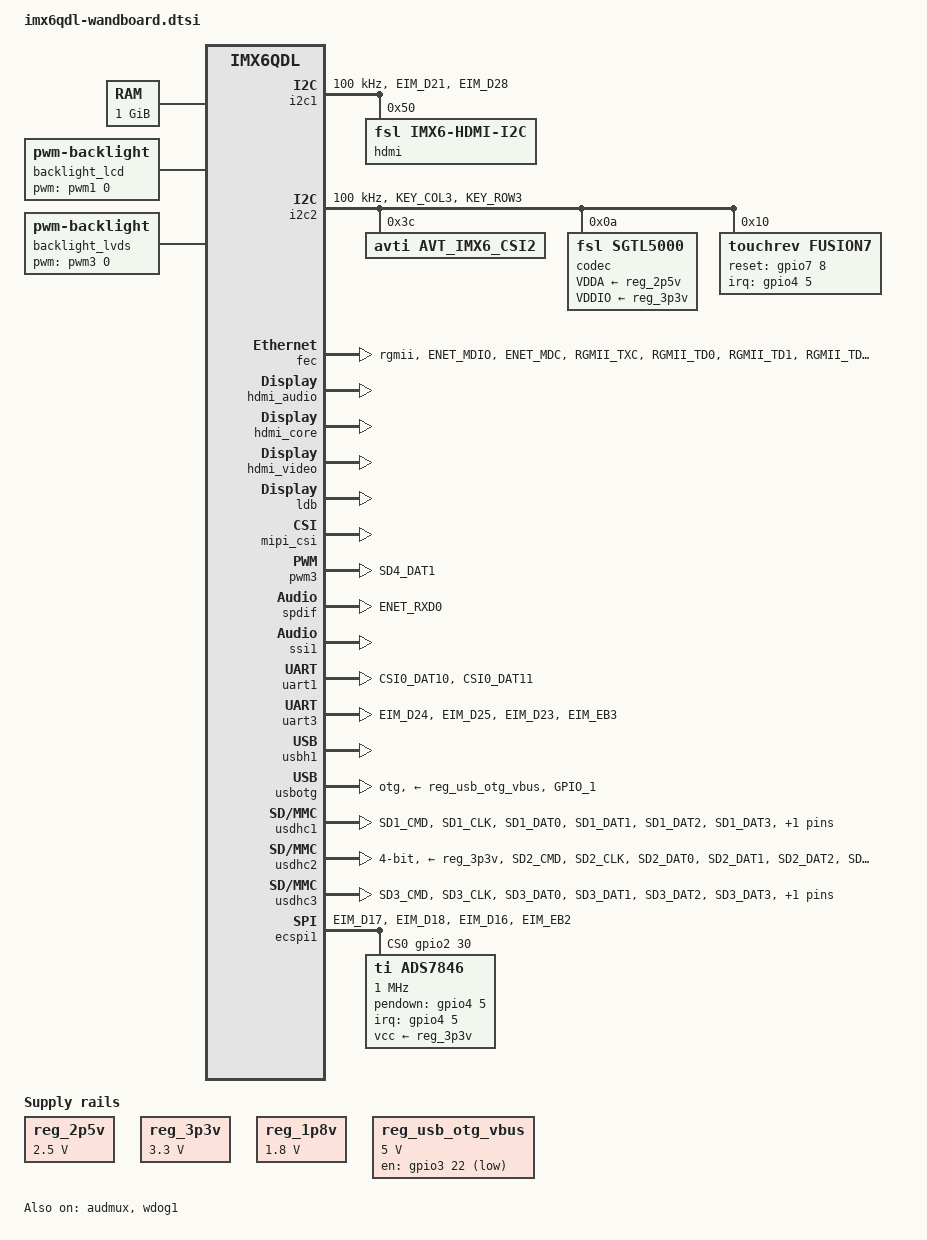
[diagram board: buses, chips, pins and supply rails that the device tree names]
/*
 * Copyright 2013-2015 Freescale Semiconductor, Inc.
 *
 * Author: Fabio Estevam <fabio.estevam@freescale.com>
 *
 * This program is free software; you can redistribute it and/or modify
 * it under the terms of the GNU General Public License version 2 as
 * published by the Free Software Foundation.
 *
 */

#include <dt-bindings/gpio/gpio.h>

/ {
	aliases {
		mxcfb0 = &mxcfb1;
		mxcfb1 = &mxcfb2;
		mxcfb2 = &mxcfb3;
		mxcfb3 = &mxcfb4;
	};

	chosen {
		stdout-path = &uart1;
	};

	memory: memory {
		reg = <0x10000000 0x40000000>;
	};

	regulators {
		compatible = "simple-bus";
		#address-cells = <1>;
		#size-cells = <0>;

		reg_2p5v: regulator@0 {
			compatible = "regulator-fixed";
			reg = <0>;
			regulator-name = "2P5V";
			regulator-min-microvolt = <2500000>;
			regulator-max-microvolt = <2500000>;
			regulator-always-on;
		};

		reg_3p3v: regulator@1 {
			compatible = "regulator-fixed";
			reg = <1>;
			regulator-name = "3P3V";
			regulator-min-microvolt = <3300000>;
			regulator-max-microvolt = <3300000>;
			regulator-always-on;
		};

		reg_1p8v: 1p8v {
			compatible = "regulator-fixed";
            reg = <2>;
			regulator-name = "1P8V";
			regulator-min-microvolt = <1800000>;
			regulator-max-microvolt = <1800000>;
			regulator-always-on;
		};

		reg_usb_otg_vbus: usb_otg_vbus {
			compatible = "regulator-fixed";
			regulator-name = "usb_otg_vbus";
			regulator-min-microvolt = <5000000>;
			regulator-max-microvolt = <5000000>;
			gpio = <&gpio3 22 0>;
		};
	};

	gpio-edm {
		compatible = "gpio-edm";

		gpio_p255 {
			label = "GPIO_P255";
			gpios = <&gpio3 12 1>;
			dir   = "in";
		};

		gpio_p256 {
			label = "GPIO_P256";
			gpios = <&gpio3 11 1>;
			dir   = "in";
		};

		gpio_p257 {
			label = "GPIO_P257";
			gpios = <&gpio3 10 1>;
			dir   = "in";
		};

		gpio_p258 {
			label = "GPIO_P258";
			gpios = <&gpio3 27 1>;
			dir   = "in";
		};

		gpio_p259 {
			label = "GPIO_P259";
			gpios = <&gpio3 26 1>;
			dir   = "in";
		};

		gpio_p260 {
			label = "GPIO_P260";
			gpios = <&gpio6 31 1>;
			dir   = "in";
		};

		gpio_p261 {
			label = "GPIO_P261";
			gpios = <&gpio3 8 1>;
			dir   = "in";
		};

		gpio_p262 {
			label = "GPIO_P262";
			gpios = <&gpio1 24 1>;
			dir   = "in";
		};

		gpio_p263 {
			label = "GPIO_P263";
			gpios = <&gpio4 5 1>;
			dir   = "in";
		};

		gpio_p264 {
			label = "GPIO_P264";
			gpios = <&gpio7 8 1>;
			dir   = "in";
		};
	};

	sound {
		compatible = "fsl,imx6-wandboard-sgtl5000",
			     "fsl,imx-audio-sgtl5000";
		model = "audio-sgtl5000";
		ssi-controller = <&ssi1>;
		audio-codec = <&codec>;
		audio-routing =
			"MIC_IN", "Mic Jack",
			"Mic Jack", "Mic Bias",
			"Headphone Jack", "HP_OUT";
		mux-int-port = <1>;
		mux-ext-port = <3>;
	};

	sound-spdif {
		compatible = "fsl,imx-audio-spdif";
		model = "imx-spdif";
		spdif-controller = <&spdif>;
		spdif-out;
	};

	sound-hdmi {
		compatible = "fsl,imx6q-audio-hdmi",
			     "fsl,imx-audio-hdmi";
		model = "imx-audio-hdmi";
		hdmi-controller = <&hdmi_audio>;
	};

	mxcfb1: fb@0 {
		compatible = "fsl,mxc_sdc_fb";
		disp_dev = "hdmi";
		interface_pix_fmt = "RGB24";
		mode_str ="1920x1080M@60";
		default_bpp = <24>;
		int_clk = <0>;
		late_init = <0>;
		status = "disabled";
	};

	mxcfb2: fb@1 {
		compatible = "fsl,mxc_sdc_fb";
		disp_dev = "ldb";
		interface_pix_fmt = "RGB666";
		default_bpp = <24>;
		int_clk = <0>;
		late_init = <0>;
		status = "disabled";
	};

	mxcfb3: fb@2 {
		compatible = "fsl,mxc_sdc_fb";
		disp_dev = "lcd";
		interface_pix_fmt = "RGB565";
		mode_str ="CLAA-WVGA";
		default_bpp = <16>;
		int_clk = <0>;
		late_init = <0>;
		status = "disabled";
	};

	mxcfb4: fb@3 {
		compatible = "fsl,mxc_sdc_fb";
		disp_dev = "ldb";
		interface_pix_fmt = "RGB666";
		default_bpp = <16>;
		int_clk = <0>;
		late_init = <0>;
		status = "disabled";
	};

	lcd@0 {
		compatible = "fsl,lcd";
		ipu_id = <0>;
		disp_id = <0>;
		default_ifmt = "RGB565";
		pinctrl-names = "default";
		pinctrl-0 = <&pinctrl_ipu1>;
		status = "okay";
	};

	backlight_lcd {
		compatible = "pwm-backlight";
		pwms = <&pwm1 0 5000000>;
		brightness-levels = <0 4 8 16 32 64 128 255>;
		default-brightness-level = <7>;
	};

	backlight_lvds {
		compatible = "pwm-backlight";
		pwms = <&pwm3 0 5000000>;
		brightness-levels = <0 4 8 16 32 64 128 255>;
		default-brightness-level = <7>;
	};

	v4l2_cap_0 {
		compatible = "fsl,imx6q-v4l2-capture";
		ipu_id = <0>;
		csi_id = <0>;
		mclk_source = <0>;
		status = "okay";
	};

	v4l2_out {
		compatible = "fsl,mxc_v4l2_output";
		status = "okay";
	};

};

&audmux {
	pinctrl-names = "default";
	pinctrl-0 = <&pinctrl_audmux>;
	status = "okay";
};

&i2c1 {
	clock-frequency = <100000>;
	pinctrl-names = "default";
	pinctrl-0 = <&pinctrl_i2c1>;
	status = "okay";

	hdmi: edid@50 {
		compatible = "fsl,imx6-hdmi-i2c";
		reg = <0x50>;
	};

};

&i2c2 {
	clock-frequency = <100000>;
	pinctrl-names = "default";
	pinctrl-0 = <&pinctrl_i2c2>;
	status = "okay";

/*
	ov5645_mipi: ov5645_mipi@3c {
		compatible = "ovti,ov5645_mipi";
		reg = <0x3c>;
		clocks = <&clks 200>;
		clock-names = "csi_mclk";
		DOVDD-supply = <&reg_1p8v>;
		AVDD-supply = <&reg_2p5v>;
		DVDD-supply = <&reg_2p5v>;
		pwn-gpios = <&gpio1 6 1>;
		rst-gpios = <&gpio4 14 0>;
		ipu_id = <0>;
		csi_id = <0>;
		mclk = <24000000>;
		mclk_source = <0>;
	};
*/

	avt_imx6_csi2: avt_imx6_csi2@3C {
		compatible = "avti,avt_imx6_csi2";
		reg = <0x3C>;
		// 400KHz CCI/I2C clock; it needs to be changed if 'clock-frequency' of 'i2c2' node is changed
		av_cam_i2c_clk = <400000>; 
		ipu_id = <0>;
		csi_id = <0>;
		lanes = <4>;	// This 'lane_count' entry has no effect if 'lanes_auto_conf' is 1
		lanes_auto_conf = <1>;
		clk = <300000000>;	// This 'clk' entry has no effect if 'clk_auto_conf' is 1
		clk_auto_conf = <1>;
	};

	codec: sgtl5000@0a {
		compatible = "fsl,sgtl5000";
		reg = <0x0a>;
		clocks = <&clks 201>;
		VDDA-supply = <&reg_2p5v>;
		VDDIO-supply = <&reg_3p3v>;
	};

	fusion7: fusion7@10 {
		compatible = "touchrev,fusion7";
		reg = <0x10>; /* The reg property describes the address of the device's resources within the address space defined by its parent bus.  */
		pinctrl-0 = <&pinctrl_gpio>;
		pinctrl-names = "default";
		interrupt-parent = <&gpio4>;
		interrupts = <5 0>;
		reset-gpios=<&gpio7 8 0>; /*pin264  SD3_RST GPIO(7, 8)   gpio200   Touchscreen Reset  Output*/
		touch_xmax=<1499>;
		touch_ymax=<899>;
		flip_x=<0>;
		flip_y=<0>;
	};

};

&iomuxc {
	pinctrl-names = "default";
    pinctrl-0 = <&pinctrl_hog_1>;

    imx6qdl-wandboard {

		pinctrl_hog_1: hoggrp-1 {
			fsl,pins = <
				MX6QDL_PAD_GPIO_0__CCM_CLKO1     	0x130b0
				MX6QDL_PAD_EIM_D22__USB_OTG_PWR		0x80000000	/* USB Power Enable */
				MX6QDL_PAD_GPIO_2__GPIO1_IO02		0x80000000	/* USDHC1 CD */
				MX6QDL_PAD_EIM_DA9__GPIO3_IO09		0x80000000	/* uSDHC3 CD */
				MX6QDL_PAD_GPIO_0__CCM_CLKO1		0x000b0		/* SGTL5000 sys_mclk */
				MX6QDL_PAD_GPIO_6__GPIO1_IO06		0x0b0b0		/* ov5640 mipi powerdown */
				MX6QDL_PAD_KEY_COL4__GPIO4_IO14		0x000b0		/* ov5640 mipi reset */
				MX6QDL_PAD_GPIO_3__CCM_CLKO2		0x000b0		/* ov5640 mclk */
				MX6QDL_PAD_EIM_D29__GPIO3_IO29   	0x80000000
			>;
		};

		pinctrl_gpio: gpiogrp {
			fsl,pins = <
				MX6QDL_PAD_EIM_DA12__GPIO3_IO12   0x4001b0b5 /* GPIO3_12 EDM pin 255 */
				MX6QDL_PAD_EIM_DA11__GPIO3_IO11   0x4001b0b5 /* GPIO3_11 EDM pin 256 */
				MX6QDL_PAD_EIM_DA10__GPIO3_IO10   0x4001b0b5 /* GPIO3_10 EDM pin 257 */
				MX6QDL_PAD_EIM_D27__GPIO3_IO27    0x4001b0b5 /* GPIO3_27 EDM pin 258 */
				MX6QDL_PAD_EIM_D26__GPIO3_IO26    0x4001b0b5 /* GPIO3_26 EDM pin 259 */
				MX6QDL_PAD_EIM_BCLK__GPIO6_IO31   0x4001b0b5 /* GPIO6_31 EDM pin 260 */
				MX6QDL_PAD_EIM_DA8__GPIO3_IO08    0x4001b0b5 /* GPIO3_8  EDM pin 261 */
				MX6QDL_PAD_GPIO_19__GPIO4_IO05    0x4001b0b5 /* GPIO4_5  EDM pin 263 */
				MX6QDL_PAD_SD3_RST__GPIO7_IO08    0x4001b0b5 /* GPIO7_8  EDM pin 264 */
			>;
		};

		pinctrl_audmux: audmuxgrp {
			fsl,pins = <
				MX6QDL_PAD_CSI0_DAT7__AUD3_RXD		0x130b0
				MX6QDL_PAD_CSI0_DAT4__AUD3_TXC		0x130b0
				MX6QDL_PAD_CSI0_DAT5__AUD3_TXD		0x110b0
				MX6QDL_PAD_CSI0_DAT6__AUD3_TXFS		0x130b0
			>;
		};

		pinctrl_ecspi1: ecspi1grp {
			fsl,pins = <
				MX6QDL_PAD_EIM_D17__ECSPI1_MISO 0x100b1
				MX6QDL_PAD_EIM_D18__ECSPI1_MOSI 0x100b1
				MX6QDL_PAD_EIM_D16__ECSPI1_SCLK 0x100b1
				MX6QDL_PAD_EIM_EB2__GPIO2_IO30  0x000f0b0 /* cs0 */
			>;
		};

		pinctrl_enet: enetgrp {
			fsl,pins = <
				MX6QDL_PAD_ENET_MDIO__ENET_MDIO		0x1b0b0
				MX6QDL_PAD_ENET_MDC__ENET_MDC		0x1b0b0
				MX6QDL_PAD_RGMII_TXC__RGMII_TXC		0x1b0b0
				MX6QDL_PAD_RGMII_TD0__RGMII_TD0		0x1b0b0
				MX6QDL_PAD_RGMII_TD1__RGMII_TD1		0x1b0b0
				MX6QDL_PAD_RGMII_TD2__RGMII_TD2		0x1b0b0
				MX6QDL_PAD_RGMII_TD3__RGMII_TD3		0x1b0b0
				MX6QDL_PAD_RGMII_TX_CTL__RGMII_TX_CTL	0x1b0b0
				MX6QDL_PAD_ENET_REF_CLK__ENET_TX_CLK	0x1b0b0
				MX6QDL_PAD_RGMII_RXC__RGMII_RXC		0x1b0b0
				MX6QDL_PAD_RGMII_RD0__RGMII_RD0		0x1b0b0
				MX6QDL_PAD_RGMII_RD1__RGMII_RD1		0x1b0b0
				MX6QDL_PAD_RGMII_RD2__RGMII_RD2		0x1b0b0
				MX6QDL_PAD_RGMII_RD3__RGMII_RD3		0x1b0b0
				MX6QDL_PAD_RGMII_RX_CTL__RGMII_RX_CTL	0x1b0b0
				MX6QDL_PAD_GPIO_16__ENET_REF_CLK	0x4001b0a8
			>;
		};

		pinctrl_i2c1: i2c1grp {
			fsl,pins = <
				MX6QDL_PAD_EIM_D21__I2C1_SCL 		0x4001b8b1
				MX6QDL_PAD_EIM_D28__I2C1_SDA 		0x4001b8b1
			>;
		};

		pinctrl_i2c2: i2c2grp {
			fsl,pins = <
				MX6QDL_PAD_KEY_COL3__I2C2_SCL		0x4001b8b1
				MX6QDL_PAD_KEY_ROW3__I2C2_SDA		0x4001b8b1
			>;
		};

		pinctrl_ipu1: ipu1grp {
			fsl,pins = <
				MX6QDL_PAD_DI0_DISP_CLK__IPU1_DI0_DISP_CLK 0x10
				MX6QDL_PAD_DI0_PIN15__IPU1_DI0_PIN15       0x10
				MX6QDL_PAD_DI0_PIN2__IPU1_DI0_PIN02        0x10
				MX6QDL_PAD_DI0_PIN3__IPU1_DI0_PIN03        0x10
				MX6QDL_PAD_DI0_PIN4__IPU1_DI0_PIN04        0x80000000
				MX6QDL_PAD_DISP0_DAT0__IPU1_DISP0_DATA00   0x10
				MX6QDL_PAD_DISP0_DAT1__IPU1_DISP0_DATA01   0x10
				MX6QDL_PAD_DISP0_DAT2__IPU1_DISP0_DATA02   0x10
				MX6QDL_PAD_DISP0_DAT3__IPU1_DISP0_DATA03   0x10
				MX6QDL_PAD_DISP0_DAT4__IPU1_DISP0_DATA04   0x10
				MX6QDL_PAD_DISP0_DAT5__IPU1_DISP0_DATA05   0x10
				MX6QDL_PAD_DISP0_DAT6__IPU1_DISP0_DATA06   0x10
				MX6QDL_PAD_DISP0_DAT7__IPU1_DISP0_DATA07   0x10
				MX6QDL_PAD_DISP0_DAT8__IPU1_DISP0_DATA08   0x10
				MX6QDL_PAD_DISP0_DAT9__IPU1_DISP0_DATA09   0x10
				MX6QDL_PAD_DISP0_DAT10__IPU1_DISP0_DATA10  0x10
				MX6QDL_PAD_DISP0_DAT11__IPU1_DISP0_DATA11  0x10
				MX6QDL_PAD_DISP0_DAT12__IPU1_DISP0_DATA12  0x10
				MX6QDL_PAD_DISP0_DAT13__IPU1_DISP0_DATA13  0x10
				MX6QDL_PAD_DISP0_DAT14__IPU1_DISP0_DATA14  0x10
				MX6QDL_PAD_DISP0_DAT15__IPU1_DISP0_DATA15  0x10
				MX6QDL_PAD_DISP0_DAT16__IPU1_DISP0_DATA16  0x10
				MX6QDL_PAD_DISP0_DAT17__IPU1_DISP0_DATA17  0x10
				MX6QDL_PAD_DISP0_DAT18__IPU1_DISP0_DATA18  0x10
				MX6QDL_PAD_DISP0_DAT19__IPU1_DISP0_DATA19  0x10
				MX6QDL_PAD_DISP0_DAT20__IPU1_DISP0_DATA20  0x10
				MX6QDL_PAD_DISP0_DAT21__IPU1_DISP0_DATA21  0x10
				MX6QDL_PAD_DISP0_DAT22__IPU1_DISP0_DATA22  0x10
				MX6QDL_PAD_DISP0_DAT23__IPU1_DISP0_DATA23  0x10
			>;
		};

/*		pinctrl_pwm1: pwm1grp {
			fsl,pins = <
				MX6QDL_PAD_SD1_DAT3__PWM1_OUT 0x1b0b1
			>;
		};*/

		pinctrl_pwm3: pwm3grp {
			fsl,pins = <
				MX6QDL_PAD_SD4_DAT1__PWM3_OUT 0x1b0b1
			>;
		};

		pinctrl_spdif: spdifgrp {
			fsl,pins = <
				MX6QDL_PAD_ENET_RXD0__SPDIF_OUT		0x1b0b0
			>;
		};

		pinctrl_uart1: uart1grp {
			fsl,pins = <
				MX6QDL_PAD_CSI0_DAT10__UART1_TX_DATA	0x1b0b1
				MX6QDL_PAD_CSI0_DAT11__UART1_RX_DATA	0x1b0b1
			>;
		};

		pinctrl_uart3: uart3grp {
			fsl,pins = <
				MX6QDL_PAD_EIM_D24__UART3_TX_DATA	0x1b0b1
				MX6QDL_PAD_EIM_D25__UART3_RX_DATA	0x1b0b1
				MX6QDL_PAD_EIM_D23__UART3_CTS_B		0x1b0b1
				MX6QDL_PAD_EIM_EB3__UART3_RTS_B		0x1b0b1
			>;
		};

		pinctrl_usbotg: usbotggrp {
			fsl,pins = <
				MX6QDL_PAD_GPIO_1__USB_OTG_ID		0x17059
			>;
		};

		pinctrl_usdhc1: usdhc1grp {
			fsl,pins = <
				MX6QDL_PAD_SD1_CMD__SD1_CMD		0x17059
				MX6QDL_PAD_SD1_CLK__SD1_CLK		0x10059
				MX6QDL_PAD_SD1_DAT0__SD1_DATA0		0x17059
				MX6QDL_PAD_SD1_DAT1__SD1_DATA1		0x17059
				MX6QDL_PAD_SD1_DAT2__SD1_DATA2		0x17059
				MX6QDL_PAD_SD1_DAT3__SD1_DATA3		0x17059
			>;
		};

		pinctrl_usdhc2: usdhc2grp {
			fsl,pins = <
				MX6QDL_PAD_SD2_CMD__SD2_CMD		0x17059
				MX6QDL_PAD_SD2_CLK__SD2_CLK		0x10059
				MX6QDL_PAD_SD2_DAT0__SD2_DATA0		0x17059
				MX6QDL_PAD_SD2_DAT1__SD2_DATA1		0x17059
				MX6QDL_PAD_SD2_DAT2__SD2_DATA2		0x17059
				MX6QDL_PAD_SD2_DAT3__SD2_DATA3		0x17059
			>;
		};

		pinctrl_usdhc3: usdhc3grp {
			fsl,pins = <
				MX6QDL_PAD_SD3_CMD__SD3_CMD		0x17059
				MX6QDL_PAD_SD3_CLK__SD3_CLK		0x10059
				MX6QDL_PAD_SD3_DAT0__SD3_DATA0		0x17059
				MX6QDL_PAD_SD3_DAT1__SD3_DATA1		0x17059
				MX6QDL_PAD_SD3_DAT2__SD3_DATA2		0x17059
				MX6QDL_PAD_SD3_DAT3__SD3_DATA3		0x17059
			>;
		};
	};
};

&clks {
    fsl,ldb-di0-parent = <&clks IMX6QDL_CLK_PLL2_PFD0_352M>;
    fsl,ldb-di1-parent = <&clks IMX6QDL_CLK_PLL2_PFD0_352M>;
};

&fec {
	pinctrl-names = "default";
	pinctrl-0 = <&pinctrl_enet>;
	phy-mode = "rgmii";
	phy-reset-gpios = <&gpio3 29 0>;
	status = "okay";
};

&hdmi_audio {
	status = "okay";
};

&hdmi_core {
	ipu_id = <0>;
	disp_id = <0>;
	status = "okay";
};

&hdmi_video {
	fsl,phy_reg_vlev = <0x0294>;
	fsl,phy_reg_cksymtx = <0x800d>;
	status = "okay";
};

&ldb {
	status = "okay";
	lvds-channel@0 {
		fsl,data-mapping = "spwg";
		fsl,data-width = <24>;
		primary;
		status = "okay";

		display-timings {
			native-mode = <&timing0>;
			timing0: hj070na {
				clock-frequency = <51000000>;
				hactive = <1024>;
				vactive = <600>;
				hback-porch = <90>;
				hfront-porch = <120>;
				vback-porch = <1>;
				vfront-porch = <1>;
				hsync-len = <100>;
				vsync-len = <33>;
			};
		};
	};
};

&mipi_csi {
	ipu_id = <0>;
	csi_id = <0>;
	v_channel = <0>;
	lanes = <2>;
	status = "okay";
};

/*&pwm1 {
	pinctrl-names = "default";
	pinctrl-0 = <&pinctrl_pwm1>;
	status = "okay";
};*/

&pwm3 {
	pinctrl-names = "default";
	pinctrl-0 = <&pinctrl_pwm3>;
	status = "okay";
};

&spdif {
	pinctrl-names = "default";
	pinctrl-0 = <&pinctrl_spdif>;
	assigned-clocks = <&clks IMX6QDL_CLK_SPDIF_SEL>,
			<&clks IMX6QDL_CLK_SPDIF_PODF>;
	assigned-clock-parents = <&clks IMX6QDL_CLK_PLL3_PFD3_454M>;
	assigned-clock-rates = <0>, <227368421>;
	status = "okay";
};

&ssi1 {
	status = "okay";
};

&uart1 {
	pinctrl-names = "default";
	pinctrl-0 = <&pinctrl_uart1>;
	status = "okay";
};

&uart3 {
	pinctrl-names = "default";
	pinctrl-0 = <&pinctrl_uart3>;
	fsl,uart-has-rtscts;
	status = "okay";
};

&usbh1 {
	status = "okay";
};

&usbotg {
	vbus-supply = <&reg_usb_otg_vbus>;
	pinctrl-names = "default";
	pinctrl-0 = <&pinctrl_usbotg>;
	disable-over-current;
	dr_mode = "otg";
	status = "okay";
};

&usdhc1 {
	pinctrl-names = "default";
	pinctrl-0 = <&pinctrl_usdhc1>;
	cd-gpios = <&gpio1 2 GPIO_ACTIVE_LOW>;
	status = "okay";
};

&usdhc2 {  /* Broadcom Wifi/BT  */
	pinctrl-names = "default";
	pinctrl-0 = <&pinctrl_usdhc2>;
	bus-width = <4>;
	//non-removable;
	vmmc-supply = <&reg_3p3v>;
	keep-power-in-suspend;
	pm-ignore-notify;
	wifi-host;
	status = "okay";
};

&usdhc3 {
	pinctrl-names = "default";
	pinctrl-0 = <&pinctrl_usdhc3>;
	cd-gpios = <&gpio3 9 GPIO_ACTIVE_LOW>;
	status = "okay";
};

&wdog1 {
	status = "okay";
};

&ecspi1 {
	fsl,spi-num-chipselects = <1>;
	cs-gpios = <&gpio2 30 0>; /* EIM_EB2 */
	pinctrl-names = "default";
	pinctrl-0 = <&pinctrl_ecspi1>;
	status = "okay";

	ads7846@0 {
		reg = <0>;  /* CS0 */
		compatible = "ti,ads7846";
		interrupt-parent = <&gpio4>;
		interrupts = <5 0>;
		spi-max-frequency = <1000000>;
		pendown-gpio = <&gpio4 5 0>; /* GPIO_19 */
		vcc-supply = <&reg_3p3v>;

		ti,x-min = /bits/ 16 <0>;
		ti,x-max = /bits/ 16 <4095>;
		ti,y-min = /bits/ 16 <0>;
		ti,y-max = /bits/ 16 <4095>;
		ti,pressure-max = /bits/ 16 <1024>;
		ti,x-plate-ohms = /bits/ 16 <90>;
		ti,y-plate-ohms = /bits/ 16 <90>;
		ti,debounce-max = /bits/ 16 <70>;
		ti,debounce-tol = /bits/ 16 <3>;
		ti,debounce-rep = /bits/ 16 <2>;
		ti,settle-delay-usec = /bits/ 16 <150>;

		linux,wakeup;
	};
};
